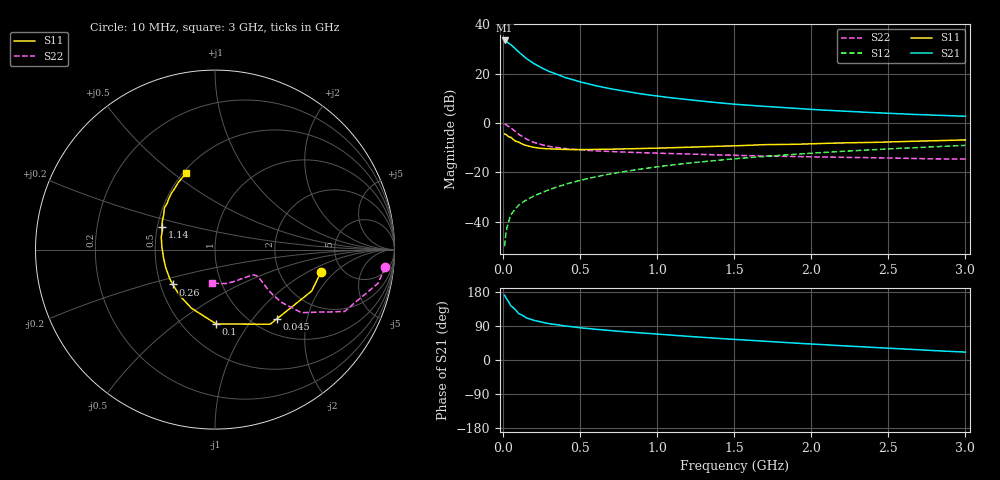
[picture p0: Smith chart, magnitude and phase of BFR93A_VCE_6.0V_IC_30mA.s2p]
! Infineon Technologies  Discrete & RF Semiconductors
! BFR93A
! VCE =  6.0 V,  IC =  30 mA
! Common Emitter S-Parameters:  Nov 2015
# GHz  S  MA  R  50
!  f  S11  S21  S12  S22
! GHz  MAG  ANG  MAG  ANG  MAG  ANG  MAG  ANG
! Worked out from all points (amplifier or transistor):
!   180 points, 10 MHz to 3 GHz, reference 50 ohm
!   highest |S21| = 33.5 dB at 10 MHz (marker M1)
!   |S21| within 3 dB of that: start of sweep to 72.23 MHz
!   unconditionally stable (mu >= 1): 376.4 MHz to 2.7 GHz
!   at 160 MHz: K = 0.77, MSG = 28.3 dB, |S12| = -30.9 dB
!   at 1.22 GHz: K = 1.07, MAG = 11.1 dB, |S12| = -16.1 dB
!   at 3 GHz: K = 0.98, MSG = 5.9 dB, |S12| = -9.0 dB
!   S11 on the Smith chart (normalised r, x): 10 MHz: 3.49, -1.35; 45 MHz: 1.27, -1.34; 100 MHz: 0.72, -0.71; 260 MHz: 0.58, -0.25; 1.14 GHz: 0.53, +0.15; 3 GHz: 0.52, +0.56
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0.01  0.6039 -11.7  47.28 171.1  0.0032 83.5  0.9528 -6.0
0.02  0.5862 -23.2  45.83 163.3  0.0063 78.3  0.9274 -11.7
0.045  0.5175 -48.0  39.76 147.1  0.0124 70.7  0.8176 -22.9
0.05  0.517 -53.5  38.99 143.3  0.0136 70.0  0.8 -25.5
0.1  0.4142 -89.1  27.69 122.9  0.0215 64.5  0.5967 -36.1
0.15  0.3518 -111.9  20.46 111.4  0.0275 63.9  0.4752 -38.4
0.2  0.323 -127.6  16.05 104.5  0.0331 65.7  0.406 -38.0
0.24  0.3088 -136.6  13.71 100.6  0.0377 66.7  0.3721 -37.0
0.26  0.3048 -140.5  12.72 98.8  0.04 67.2  0.3582 -36.5
0.3  0.3003 -146.8  11.1 95.7  0.0447 68.3  0.3366 -35.4
0.4  0.2925 -160.3  8.437 89.8  0.0567 70.0  0.3036 -33.4
0.5  0.2903 -170.2  6.828 85.0  0.069 70.4  0.2862 -32.4
0.52  0.2903 -171.7  6.607 84.3  0.0715 70.4  0.2837 -32.3
0.6  0.2925 -177.9  5.733 81.1  0.0813 70.6  0.2735 -32.1
0.7  0.296 177.3  4.942 77.5  0.0938 70.3  0.2649 -32.5
0.86  0.3045 168.9  4.071 72.5  0.113 69.2  0.2534 -34.0
1.02  0.3111 161.6  3.461 67.6  0.1323 67.9  0.2451 -36.2
1.14  0.3204 157.2  3.129 64.1  0.1467 66.8  0.2385 -38.4
1.52  0.3474 145.2  2.386 53.7  0.1909 62.8  0.2213 -46.6
2.02  0.3826 132.4  1.876 41.8  0.2473 57.3  0.2066 -60.0
2.52  0.4166 121.2  1.566 30.8  0.3017 51.4  0.1955 -75.6
3  0.4564 110.4  1.375 20.8  0.3533 45.6  0.186 -94.9
